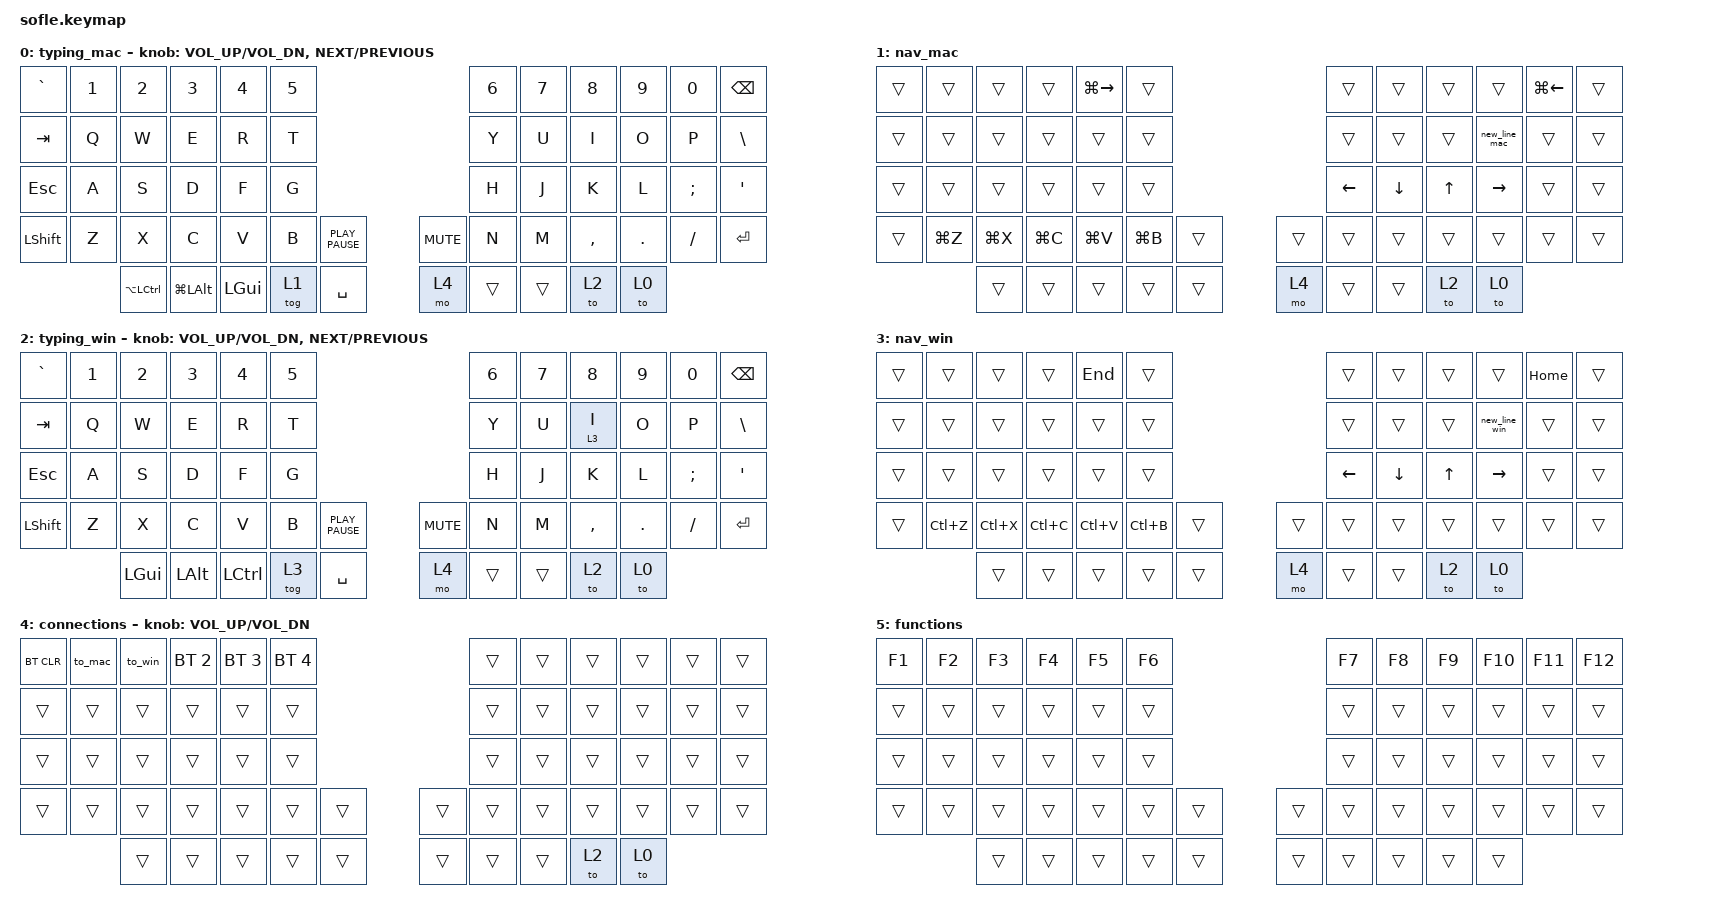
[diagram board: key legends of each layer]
/*
 * Copyright (c) 2020 The ZMK Contributors
 *
 * SPDX-License-Identifier: MIT
 */

#include <behaviors.dtsi>
#include <dt-bindings/zmk/bt.h>
#include <dt-bindings/zmk/keys.h>

#define BASE 0
#define LOWER 1
#define RAISE 2
#define ADJUST 3

/ {
    // Activate ADJUST layer by pressing raise and lower

    conditional_layers { compatible = "zmk,conditional-layers"; };

    macros {
        refactor: refactor {
            compatible = "zmk,behavior-macro";
            #binding-cells = <0>;
            bindings = <&kp GLOBE &kp LS(F6)>;
            label = "REFACTOR";
        };

        find: find {
            compatible = "zmk,behavior-macro";
            #binding-cells = <0>;
            bindings = <&kp RIGHT_GUI &kp LEFT_SHIFT &kp F>;
            label = "FIND";
        };

        create_constant: create_constant {
            compatible = "zmk,behavior-macro";
            #binding-cells = <0>;
            bindings = <&kp LEFT_GUI &kp LEFT_ALT &kp C>;
            label = "CREATE_CONSTANT";
        };

        create_variable: create_variable {
            compatible = "zmk,behavior-macro";
            #binding-cells = <0>;
            bindings = <&kp LEFT_GUI &kp LEFT_ALT &kp V>;
            label = "CREATE_VARIABLE";
        };

        new_line_mac: new_line_mac {
            compatible = "zmk,behavior-macro";
            #binding-cells = <0>;
            bindings = <&kp LG(RIGHT_ARROW) &kp ENTER>;
            label = "NEW_LINE_MAC";
        };

        new_line_win: new_line_win {
            compatible = "zmk,behavior-macro";
            #binding-cells = <0>;
            bindings = <&kp END &kp ENTER>;
            label = "NEW_LINE_WIN";
        };

        to_mac: to_mac {
            compatible = "zmk,behavior-macro";
            #binding-cells = <0>;
            bindings = <&bt BT_SEL 0 &to 0>;
            label = "TO_MAC";
        };

        to_win: to_win {
            compatible = "zmk,behavior-macro";
            #binding-cells = <0>;
            bindings = <&bt BT_SEL 1 &to 2>;
            label = "TO_WIN";
        };
    };

    behaviors {
        tap_or_hold: tap_or_hold {
            compatible = "zmk,behavior-hold-tap";
            label = "TAP_OR_HOLD";
            bindings = <&mo>, <&mo>;

            #binding-cells = <2>;
            hold-trigger-key-positions = <53>;
            tapping-term-ms = <2000>;
        };

        behavior_tap_hold_key: behavior_tap_hold_key {
            compatible = "zmk,behavior-hold-tap";
            label = "BEHAVIOR_TAP_HOLD_KEY";
            bindings = <&kp>, <&kp>;

            #binding-cells = <2>;
            tapping-term-ms = <2000>;
        };

        kp_and_refactor: kp_and_refactor {
            compatible = "zmk,behavior-hold-tap";
            label = "KP_AND_REFACTOR";
            bindings = <&refactor>, <&kp>;

            #binding-cells = <2>;
            hold-trigger-key-positions = <16>;
            tapping-term-ms = <2000>;
        };

        behavior_find: behavior_find {
            compatible = "zmk,behavior-hold-tap";
            label = "BEHAVIOR_FIND";
            bindings = <&find>, <&kp>;

            #binding-cells = <2>;
            hold-trigger-key-positions = <28>;
            tapping-term-ms = <2000>;
        };

        create_function: create_function {
            compatible = "zmk,behavior-hold-tap";
            label = "CREATE_FUNCTION";
            bindings = <&kp>, <&kp>;

            #binding-cells = <2>;
            hold-trigger-key-positions = <45>;
            tapping-term-ms = <2000>;
        };

        vol_behavior: vol_behavior {
            compatible = "zmk,behavior-sensor-rotate";
            label = "VOL_BEHAVIOR";
            #sensor-binding-cells = <0>;
            bindings = <&kp C_VOL_UP>, <&kp C_VOLUME_DOWN>;

            tap-ms = <7>;
        };

        to_nav_layer: to_nav_layer {
            compatible = "zmk,behavior-hold-tap";
            label = "TO_NAV_LAYER";
            bindings = <&mo>, <&kp>;

            #binding-cells = <2>;
            tapping-term-ms = <100>;
        };
    };

    keymap {
        compatible = "zmk,keymap";

        typing_mac {
            bindings = <
&kp GRAVE       &kp N1  &kp N2         &kp N3        &kp N4    &kp N5                                  &kp N6  &kp N7  &kp N8     &kp N9   &kp N0    &kp BSPC
&kp TAB         &kp Q   &kp W          &kp E         &kp R     &kp T                                   &kp Y   &kp U   &kp I      &kp O    &kp P     &kp BSLH
&kp ESC         &kp A   &kp S          &kp D         &kp F     &kp G                                   &kp H   &kp J   &kp K      &kp L    &kp SEMI  &kp APOS
&kp LEFT_SHIFT  &kp Z   &kp X          &kp C         &kp V     &kp B   &kp K_PLAY_PAUSE    &kp K_MUTE  &kp N   &kp M   &kp COMMA  &kp DOT  &kp FSLH  &kp RET
                        &kp LA(LCTRL)  &kp LG(LALT)  &kp LGUI  &tog 1  &kp SPACE           &mo 4       &trans  &trans  &to 2      &to 0
            >;

            sensor-bindings =
                <&inc_dec_kp C_VOLUME_UP C_VOL_DN>,
                <&inc_dec_kp C_NEXT C_PREVIOUS>;
        };

        nav_mac {
            bindings = <
&trans  &trans     &trans     &trans     &kp LG(RIGHT_ARROW)  &trans                       &trans    &trans    &trans  &trans         &kp LG(LEFT_ARROW)  &trans
&trans  &trans     &trans     &trans     &trans               &trans                       &trans    &trans    &trans  &new_line_mac  &trans              &trans
&trans  &trans     &trans     &trans     &trans               &trans                       &kp LEFT  &kp DOWN  &kp UP  &kp RIGHT      &trans              &trans
&trans  &kp LG(Z)  &kp LG(X)  &kp LG(C)  &kp LG(V)            &kp LG(B)  &trans    &trans  &trans    &trans    &trans  &trans         &trans              &trans
                   &trans     &trans     &trans               &trans     &trans    &mo 4   &trans    &trans    &to 2   &to 0
            >;
        };

        typing_win {
            bindings = <
&kp GRAVE       &kp N1  &kp N2    &kp N3    &kp N4     &kp N5                                  &kp N6  &kp N7  &kp N8             &kp N9   &kp N0    &kp BSPC
&kp TAB         &kp Q   &kp W     &kp E     &kp R      &kp T                                   &kp Y   &kp U   &to_nav_layer 3 I  &kp O    &kp P     &kp BSLH
&kp ESC         &kp A   &kp S     &kp D     &kp F      &kp G                                   &kp H   &kp J   &kp K              &kp L    &kp SEMI  &kp APOS
&kp LEFT_SHIFT  &kp Z   &kp X     &kp C     &kp V      &kp B   &kp K_PLAY_PAUSE    &kp K_MUTE  &kp N   &kp M   &kp COMMA          &kp DOT  &kp FSLH  &kp RET
                        &kp LGUI  &kp LALT  &kp LCTRL  &tog 3  &kp SPACE           &mo 4       &trans  &trans  &to 2              &to 0
            >;

            sensor-bindings =
                <&inc_dec_kp C_VOLUME_UP C_VOL_DN>,
                <&inc_dec_kp C_NEXT C_PREVIOUS>;
        };

        nav_win {
            bindings = <
&trans  &trans     &trans     &trans     &kp END    &trans                       &trans    &trans    &trans  &trans         &kp HOME  &trans
&trans  &trans     &trans     &trans     &trans     &trans                       &trans    &trans    &trans  &new_line_win  &trans    &trans
&trans  &trans     &trans     &trans     &trans     &trans                       &kp LEFT  &kp DOWN  &kp UP  &kp RIGHT      &trans    &trans
&trans  &kp LC(Z)  &kp LC(X)  &kp LC(C)  &kp LC(V)  &kp LC(B)  &trans    &trans  &trans    &trans    &trans  &trans         &trans    &trans
                   &trans     &trans     &trans     &trans     &trans    &mo 4   &trans    &trans    &to 2   &to 0
            >;
        };

        connections {
            bindings = <
&bt BT_CLR  &to_mac  &to_win  &bt BT_SEL 2  &bt BT_SEL 3  &bt BT_SEL 4                    &trans  &trans  &trans  &trans  &trans  &trans
&trans      &trans   &trans   &trans        &trans        &trans                          &trans  &trans  &trans  &trans  &trans  &trans
&trans      &trans   &trans   &trans        &trans        &trans                          &trans  &trans  &trans  &trans  &trans  &trans
&trans      &trans   &trans   &trans        &trans        &trans        &trans    &trans  &trans  &trans  &trans  &trans  &trans  &trans
                     &trans   &trans        &trans        &trans        &trans    &trans  &trans  &trans  &to 2   &to 0
            >;

            sensor-bindings = <&inc_dec_kp C_VOLUME_UP C_VOL_DN>;
        };

        functions {
            bindings = <
&kp F1  &kp F2  &kp F3  &kp F4  &kp F5  &kp F6                    &kp F7  &kp F8  &kp F9  &kp F10  &kp F11  &kp F12
&trans  &trans  &trans  &trans  &trans  &trans                    &trans  &trans  &trans  &trans   &trans   &trans
&trans  &trans  &trans  &trans  &trans  &trans                    &trans  &trans  &trans  &trans   &trans   &trans
&trans  &trans  &trans  &trans  &trans  &trans  &trans    &trans  &trans  &trans  &trans  &trans   &trans   &trans
                &trans  &trans  &trans  &trans  &trans    &trans  &trans  &trans  &trans  &trans
            >;
        };
    };
};
